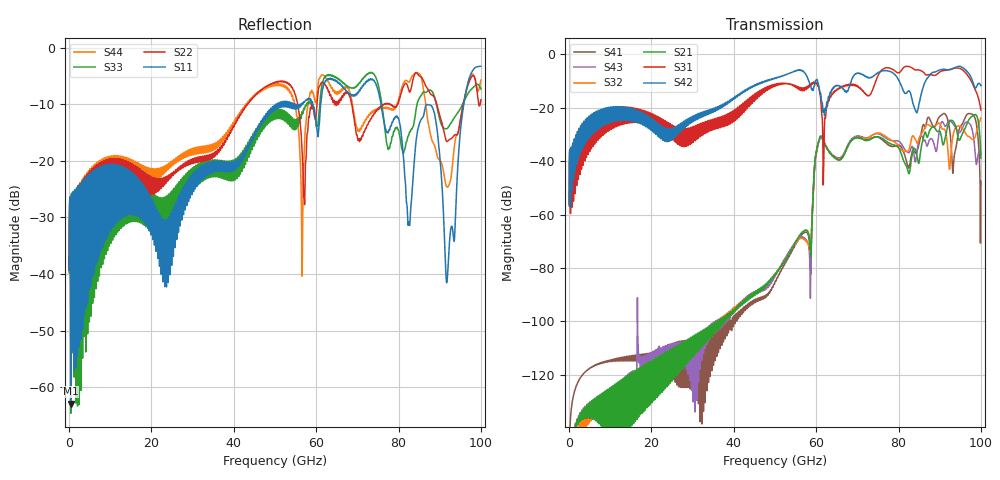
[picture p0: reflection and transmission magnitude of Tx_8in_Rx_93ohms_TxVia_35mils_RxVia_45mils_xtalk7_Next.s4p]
! Info: Touchstone file created by Circ.  Input file=Tx_8in_Rx_93ohms_TxVia_35mils_RxVia_45mils.circ
# Hz S RI R 50
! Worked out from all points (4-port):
!   10000 points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, 10 MHz to 100 GHz, reference 50 ohm
!   strongest paths, dB at 10 MHz, 25.01 GHz, 50.01 GHz, 75.01 GHz, 100 GHz:
!     S42: -56.0, -27.8, -8.9, -6.9, -11.7
!     S31: -56.7, -26.4, -11.4, -8.0, -20.8
!     S21: -175.3, -115.9, -82.8, -30.9, -38.9
!     S32: -179.9, -111.9, -82.6, -29.4, -23.8
!     S43: -174.9, -110.7, -83.0, -29.7, -37.3
!     S41: -162.1, -120.3, -85.2, -31.0, -47.6
!   lowest |S11| = -62.9 dB at 410 MHz (marker M1), VSWR 1.00, Z = 49.9 + j0.0481 ohm
!   |S11| at or under -10 dB: start of sweep to 50.55 GHz; 59.18 GHz to 61.1 GHz (1.92 GHz wide, 3.19 % of centre); 75.74 GHz to 95.85 GHz (20.11 GHz wide, 23.4 % of centre)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
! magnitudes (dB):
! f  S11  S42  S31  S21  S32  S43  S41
! 10 MHz  -39.2  -56.0  -56.7  -175.3  -179.9  -174.9  -162.1
! 410 MHz  -62.9  -40.6  -40.7  -148.5  -152.9  -148.3  -134.9
! 50.75 GHz  -10.6  -8.4  -10.9  -81.1  -81.0  -81.1  -83.2
! 60.93 GHz  -11.6  -14.2  -15.1  -30.7  -30.8  -31.1  -31.0
! 73.25 GHz  -5.5  -8.7  -14.8  -31.7  -30.6  -30.6  -31.5
! 91.77 GHz  -41.4  -5.8  -5.9  -28.0  -32.3  -26.1  -23.6
! 100 GHz  -3.3  -11.7  -20.8  -38.9  -23.8  -37.3  -47.6
